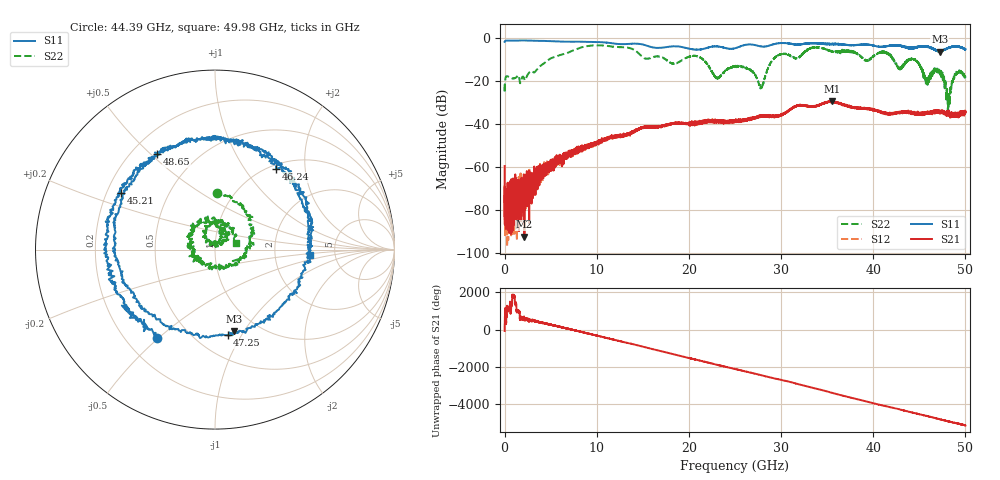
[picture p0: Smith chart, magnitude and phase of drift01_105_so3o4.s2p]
!Created with skrf (http://scikit-rf.org).
# Hz S RI R 50.0
!freq ReS11 ImS11 ReS21 ImS21 ReS12 ImS12 ReS22 ImS22
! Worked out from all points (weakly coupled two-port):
!   10001 points, 300 kHz to 50 GHz, reference 50 ohm
!   highest |S21| = -29.52 dB at 35.57 GHz (marker M1); lowest = -92.5 dB at 2.15 GHz (marker M2)
!   lowest |S11| = -6.6 dB at 47.21 GHz (marker M3), VSWR 2.74, Z = 38.9 - j45.1 ohm
!   |S11| at or under -10 dB: nowhere
!   |S22| runs from -36.1 to -3.6 dB; largest |S21 - S12| = 0.0045
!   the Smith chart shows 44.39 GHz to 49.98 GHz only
!   S11 on the Smith chart (normalised r, x): 44.39 GHz: 0.33, -0.50; 45.21 GHz: 0.26, +0.26; 46.24 GHz: 1.07, +1.41; 47.25 GHz: 0.70, -0.87; 48.65 GHz: 0.30, +0.52; 49.98 GHz: 3.21, -0.29
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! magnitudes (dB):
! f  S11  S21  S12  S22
! 300 kHz  -2.1  -59.7  -68.7  -21.8
! 255.3 MHz  -1.4  -70.8  -79.2  -18.0
! 2.15 GHz  -1.4  -92.5  -77.5  -19.5
! 8.335 GHz  -1.9  -52.3  -52.0  -4.6
! 16.67 GHz  -4.8  -41.2  -41.5  -8.7
! 20.99 GHz  -5.6  -40.1  -39.8  -8.8
! 23.08 GHz  -4.1  -38.8  -38.8  -18.8
! 25 GHz  -5.0  -38.8  -39.0  -13.7
! 27.84 GHz  -4.1  -36.3  -36.8  -23.1
! 29.47 GHz  -2.8  -36.6  -36.3  -8.8
! 33.34 GHz  -2.6  -31.9  -32.1  -4.7
! 35.57 GHz  -2.8  -29.5  -29.9  -6.4
! 41.67 GHz  -3.9  -35.4  -35.3  -7.6
! 44.39 GHz  -4.6  -35.0  -35.1  -10.1
! 45.21 GHz  -4.3  -35.1  -35.4  -14.2
! 46.24 GHz  -5.0  -35.3  -35.0  -19.2
! 47.21 GHz  -6.6  -35.0  -34.0  -16.5
! 47.25 GHz  -6.3  -35.5  -34.4  -17.1
! 48.13 GHz  -4.9  -35.6  -35.3  -33.9
! 48.65 GHz  -4.1  -35.3  -36.0  -20.2
! 49.98 GHz  -5.5  -33.9  -33.9  -18.3
! 50 GHz  -5.4  -34.7  -34.6  -18.4
